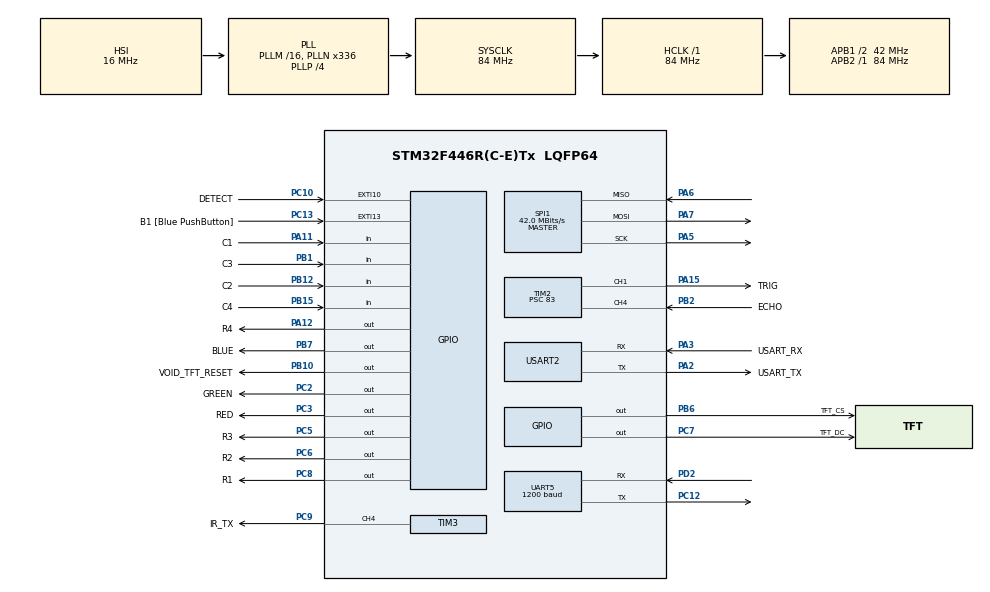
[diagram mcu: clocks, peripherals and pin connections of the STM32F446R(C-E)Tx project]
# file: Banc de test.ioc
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Dma.Request0=UART5_TX
Dma.Request1=SPI1_TX
Dma.SPI1_TX.1.Direction=DMA_MEMORY_TO_PERIPH
Dma.SPI1_TX.1.FIFOMode=DMA_FIFOMODE_DISABLE
Dma.SPI1_TX.1.Instance=DMA2_Stream3
Dma.SPI1_TX.1.MemDataAlignment=DMA_MDATAALIGN_BYTE
Dma.SPI1_TX.1.MemInc=DMA_MINC_ENABLE
Dma.SPI1_TX.1.Mode=DMA_NORMAL
Dma.SPI1_TX.1.PeriphDataAlignment=DMA_PDATAALIGN_BYTE
Dma.SPI1_TX.1.PeriphInc=DMA_PINC_DISABLE
Dma.SPI1_TX.1.Priority=DMA_PRIORITY_LOW
Dma.UART5_TX.0.Direction=DMA_MEMORY_TO_PERIPH
Dma.UART5_TX.0.FIFOMode=DMA_FIFOMODE_DISABLE
Dma.UART5_TX.0.Instance=DMA1_Stream7
Dma.UART5_TX.0.MemDataAlignment=DMA_MDATAALIGN_BYTE
Dma.UART5_TX.0.MemInc=DMA_MINC_ENABLE
Dma.UART5_TX.0.Mode=DMA_CIRCULAR
Dma.UART5_TX.0.PeriphDataAlignment=DMA_PDATAALIGN_BYTE
Dma.UART5_TX.0.PeriphInc=DMA_PINC_DISABLE
Dma.UART5_TX.0.Priority=DMA_PRIORITY_LOW
Mcu.Family=STM32F4
Mcu.Name=STM32F446R(C-E)Tx
Mcu.Package=LQFP64
NVIC.DMA1_Stream7_IRQn=true\:0\:0\:false\:false\:true\:false\:true\:true
NVIC.DMA2_Stream3_IRQn=true\:0\:0\:false\:false\:true\:false\:true\:true
NVIC.EXTI15_10_IRQn=true\:0\:0\:false\:false\:true\:true\:true\:true
NVIC.PriorityGroup=NVIC_PRIORITYGROUP_0
NVIC.SPI1_IRQn=true\:0\:0\:false\:false\:true\:true\:true\:true
NVIC.TIM2_IRQn=true\:0\:0\:false\:false\:true\:true\:true\:true
NVIC.UART5_IRQn=true\:0\:0\:false\:false\:true\:true\:true\:true
PA11.GPIO_Label=C1
PA11.GPIO_PuPd=GPIO_PULLUP
PA11.Signal=GPIO_Input
PA12.GPIO_Label=R4
PA12.Signal=GPIO_Output
PA13.GPIO_Label=TMS
PA13.Mode=Serial_Wire
PA13.Signal=SYS_JTMS-SWDIO
PA14.GPIO_Label=TCK
PA14.Mode=Serial_Wire
PA14.Signal=SYS_JTCK-SWCLK
PA15.GPIO_Label=TRIG
PA15.Signal=S_TIM2_CH1_ETR
PA2.GPIO_Label=USART_TX
PA2.Mode=Asynchronous
PA2.Signal=USART2_TX
PA3.GPIO_Label=USART_RX
PA3.Mode=Asynchronous
PA3.Signal=USART2_RX
PA5.Mode=Full_Duplex_Master
PA5.Signal=SPI1_SCK
PA6.Mode=Full_Duplex_Master
PA6.Signal=SPI1_MISO
PA7.Mode=Full_Duplex_Master
PA7.Signal=SPI1_MOSI
PB1.GPIO_Label=C3
PB1.GPIO_PuPd=GPIO_PULLUP
PB1.Signal=GPIO_Input
PB10.GPIO_Label=VOID_TFT_RESET
PB10.Signal=GPIO_Output
PB12.GPIO_Label=C2
PB12.GPIO_PuPd=GPIO_PULLUP
PB12.Signal=GPIO_Input
PB15.GPIO_Label=C4
PB15.GPIO_PuPd=GPIO_PULLUP
PB15.Signal=GPIO_Input
PB2.GPIO_Label=ECHO
PB2.Signal=S_TIM2_CH4
PB3.GPIO_Label=SWO
PB3.Signal=SYS_JTDO-SWO
PB6.GPIO_Label=TFT_CS
PB6.Signal=GPIO_Output
PB7.GPIO_Label=BLUE
PB7.Signal=GPIO_Output
PC10.GPIO_Label=DETECT
PC10.GPIO_ModeDefaultEXTI=GPIO_MODE_IT_RISING_FALLING
PC10.Signal=GPXTI10
PC12.Mode=Asynchronous
PC12.Signal=UART5_TX
PC13.GPIO_Label=B1 [Blue PushButton]
PC13.GPIO_ModeDefaultEXTI=GPIO_MODE_IT_FALLING
PC13.Signal=GPXTI13
PC14-OSC32_IN.Mode=LSE-External-Oscillator
PC14-OSC32_IN.Signal=RCC_OSC32_IN
PC15-OSC32_OUT.Mode=LSE-External-Oscillator
PC15-OSC32_OUT.Signal=RCC_OSC32_OUT
PC2.GPIO_Label=GREEN
PC2.Signal=GPIO_Output
PC3.GPIO_Label=RED
PC3.Signal=GPIO_Output
PC5.GPIO_Label=R3
PC5.Signal=GPIO_Output
PC6.GPIO_Label=R2
PC6.Signal=GPIO_Output
PC7.GPIO_Label=TFT_DC
PC7.Signal=GPIO_Output
PC8.GPIO_Label=R1
PC8.Signal=GPIO_Output
PC9.GPIO_Label=IR_TX
PC9.Signal=S_TIM3_CH4
PD2.Mode=Asynchronous
PD2.Signal=UART5_RX
PH0-OSC_IN.Mode=HSE-External-Oscillator
PH0-OSC_IN.Signal=RCC_OSC_IN
PH1-OSC_OUT.Mode=HSE-External-Oscillator
PH1-OSC_OUT.Signal=RCC_OSC_OUT
ProjectManager.HeapSize=0x200
ProjectManager.StackSize=0x400
ProjectManager.TargetToolchain=MDK-ARM V5.32
RCC.48MHZClocksFreq_Value=84000000
RCC.AHBFreq_Value=84000000
RCC.APB1CLKDivider=RCC_HCLK_DIV2
RCC.APB1Freq_Value=42000000
RCC.APB1TimFreq_Value=84000000
RCC.APB2Freq_Value=84000000
RCC.APB2TimFreq_Value=84000000
RCC.CortexFreq_Value=84000000
RCC.FLatency-AdvancedSettings=FLASH_LATENCY_2
RCC.HCLKFreq_Value=84000000
RCC.HSE_VALUE=8000000
RCC.HSI_VALUE=16000000
RCC.PLLN=336
RCC.PLLP=RCC_PLLP_DIV4
RCC.SYSCLKFreq_VALUE=84000000
RCC.SYSCLKSource=RCC_SYSCLKSOURCE_PLLCLK
RCC.USBFreq_Value=168000000
RCC.VCOOutputFreq_Value=336000000
SH.S_TIM2_CH1_ETR.0=TIM2_CH1,PWM Generation1 CH1
SH.S_TIM2_CH4.0=TIM2_CH4,Input_Capture4_from_TI4
SH.S_TIM3_CH4.0=TIM3_CH4,PWM Generation4 CH4
SPI1.CalculateBaudRate=42.0 MBits/s
SPI1.Direction=SPI_DIRECTION_2LINES
SPI1.Mode=SPI_MODE_MASTER
SPI1.VirtualType=VM_MASTER
TIM2.Channel-Input_Capture4_from_TI4=TIM_CHANNEL_4
TIM2.Channel-PWM\ Generation1\ CH1=TIM_CHANNEL_1
TIM2.ICPolarity_CH4=TIM_INPUTCHANNELPOLARITY_BOTHEDGE
TIM2.Period=199999
TIM2.Prescaler=83
TIM2.Pulse-PWM\ Generation1\ CH1=10
TIM3.Channel-PWM\ Generation4\ CH4=TIM_CHANNEL_4
TIM3.Period=25
TIM3.Prescaler=83
TIM3.Pulse-PWM\ Generation4\ CH4=13
UART5.BaudRate=1200
UART5.VirtualMode=Asynchronous
USART2.VirtualMode=VM_ASYNC
VP_TIM2_VS_ClockSourceINT.Mode=Internal
VP_TIM3_VS_ClockSourceINT.Mode=Internal
board=NUCLEO-F446RE

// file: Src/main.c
/* USER CODE BEGIN Header */
/**
  ******************************************************************************
  * @file           : main.c
  * @brief          : Main program body
  ******************************************************************************
  * @attention
  *
  * Copyright (c) 2022 STMicroelectronics.
  * All rights reserved.
  *
  * This software is licensed under terms that can be found in the LICENSE file
  * in the root directory of this software component.
  * If no LICENSE file comes with this software, it is provided AS-IS.
  *
  ******************************************************************************
  */
/* USER CODE END Header */
#include "main.h"
#include "dma.h"
#include "spi.h"
#include "tim.h"
#include "usart.h"
#include "gpio.h"

/* USER CODE BEGIN Includes */
#include "stdio.h"
#include "stdlib.h"
#include "ili9341.h"
#include "ili9341_gfx.h"
/* USER CODE END Includes */

/* USER CODE BEGIN PD */
	#define LED_RED 		0
	#define LED_GREEN 	1
	#define LED_BLUE 		2

/* USER CODE END PD */

/* USER CODE BEGIN PV */
	ili9341_t *_screen;
	ili9341_text_attr_t my_attr;
	int x;

	// Systick
	volatile int flag_systick = 0;

	//LED
	volatile int led_color = LED_RED;

	// Ultrason
	volatile float distance_US = 0.0;

	// Key
	int key = 0;

	// UART
	unsigned Tx_data_word = 0xFE0000FF;
	uint8_t *Tx_data = (uint8_t *) &Tx_data_word;
	uint8_t Rx_data[4] = {0};
	uint8_t Rx_buff[1] = {0};
	uint8_t Rx_temp[2] = {0};
	int tx_timer = 0;

/* USER CODE END PV */

void SystemClock_Config(void);
/* USER CODE BEGIN PFP */
unsigned Update_Mes(unsigned * x);
/* USER CODE END PFP */

/* USER CODE BEGIN 0 */
#ifndef __GNUC__
#define PUTCHAR_PROTOTYPE int __io_putchar(int ch)
#else
#define PUTCHAR_PROTOTYPE int fputc(int ch, FILE *f)
#endif /* __GNUC__ */

void HAL_SYSTICK_Callback(void) {
	static int timer = 0;
	static int led_timer = 0;

	timer++;
	led_timer++;
	tx_timer++;

	// Sets flag when time elapsed
	if (timer == 500){
		flag_systick = 1;
		timer = 0;
	}

	// Change LED color when time elapsed
	if (led_timer > 2000){
		led_color = (led_color+1)%3;
		led_timer = 0;
	}

	// Update the message sent when time elapsed
	if (tx_timer == 1234){
		Update_Mes(&Tx_data_word);
		tx_timer = 0;
	}
}

void HAL_TIM_IC_CaptureCallback(TIM_HandleTypeDef *htim)
{
	static int risingIC = 0;
	static int edge1Time = 0;
	static int edge2Time = 0;

	//First edge (Rising edge)
	if(risingIC == 0)
	{
		edge1Time = HAL_TIM_ReadCapturedValue(htim, TIM_CHANNEL_4);
		risingIC = 1;
	}

	//Second edge (Falling edge)
	else
	{
		edge2Time = HAL_TIM_ReadCapturedValue(htim, TIM_CHANNEL_4);
		risingIC = 0;

		distance_US=abs(edge2Time-edge1Time)/58.82;
	}
}

void HAL_UART_RxCpltCallback(UART_HandleTypeDef *huart)
{
	static int uart_state = 1;
	static int uart_cnt = 0;
	char c = *Rx_buff;

	HAL_UART_Receive_IT (&huart5, (uint8_t *) Rx_buff, sizeof(Rx_buff)); // Prepare la reception pour un prochain byte de data (mode normal)

	// Machine à état
	if (c==255) {
		uart_state = 1;
		uart_cnt = 0;
	} else {
		switch (uart_state){
			case 1:
				Rx_temp[uart_cnt] = c;
				uart_cnt++;
				if (uart_cnt == 2){
					uart_state = 2;
				}
				break;

			case 2:
				if (c == 254){
					Rx_data[1] = Rx_temp[0];
					Rx_data[2] = Rx_temp[1];
				}
				uart_state = 3;
				break;

			case 3:
				uart_state = 3;
				break;

		}
	}
}

void HAL_GPIO_EXTI_Callback(uint16_t GPIO_Pin)
{
	if(GPIO_Pin == DETECT_Pin)
	{
		if(HAL_GPIO_ReadPin(DETECT_GPIO_Port,DETECT_Pin)==GPIO_PIN_SET)
		{
			HAL_TIM_PWM_Stop(&htim3, TIM_CHANNEL_4);
		}
		else
		{
			HAL_TIM_PWM_Start(&htim3, TIM_CHANNEL_4);
		}
	}
}

// Set a row for the Key
void selectRow (int r) {
	if (r==1) HAL_GPIO_WritePin(R1_GPIO_Port, R1_Pin, GPIO_PIN_RESET);
	else HAL_GPIO_WritePin(R1_GPIO_Port, R1_Pin, GPIO_PIN_SET);
	if (r==2) HAL_GPIO_WritePin(R2_GPIO_Port, R2_Pin, GPIO_PIN_RESET);
	else HAL_GPIO_WritePin(R2_GPIO_Port, R2_Pin, GPIO_PIN_SET);
	if (r==3) HAL_GPIO_WritePin(R3_GPIO_Port, R3_Pin, GPIO_PIN_RESET);
	else HAL_GPIO_WritePin(R3_GPIO_Port, R3_Pin, GPIO_PIN_SET);
	if (r==4) HAL_GPIO_WritePin(R4_GPIO_Port, R4_Pin, GPIO_PIN_RESET);
	else HAL_GPIO_WritePin(R4_GPIO_Port, R4_Pin, GPIO_PIN_SET);
}

// Read the column of the Key
int readCol() {
	int result = 0;
	if (HAL_GPIO_ReadPin(C1_GPIO_Port, C1_Pin) == GPIO_PIN_RESET) result += 1;
	if (HAL_GPIO_ReadPin(C2_GPIO_Port, C2_Pin) == GPIO_PIN_RESET) result += 2;
	if (HAL_GPIO_ReadPin(C3_GPIO_Port, C3_Pin) == GPIO_PIN_RESET) result += 4;
	if (HAL_GPIO_ReadPin(C4_GPIO_Port, C4_Pin) == GPIO_PIN_RESET) result += 8;
	return result;
}

// Look if a key is pressed
int keyPressed() {
	int rowPos=1; // Current row position
	int rowValue; // Value read from the current row
	for (rowPos=1; rowPos <= 4; rowPos++) {
		selectRow(rowPos); HAL_Delay(10);
		rowValue=readCol();
		if (rowValue != 0) { // a key is pressed
			int result = 4*(rowPos-1);
			while (!(rowValue & 1)) { // test if bit #0 is false
				result++;
				rowValue>>=1;
			}
			while (readCol() != 0); // key no more pressed
			return result+1;
		}
	}
	return -1;
}

/* USER CODE END 0 */

int main(void)
{

  /* MCU Configuration--------------------------------------------------------*/

  /* Reset of all peripherals, Initializes the Flash interface and the Systick. */
  HAL_Init();

  /* Configure the system clock */
  SystemClock_Config();

  /* Initialize all configured peripherals */
  MX_GPIO_Init();
  MX_DMA_Init();
  MX_USART2_UART_Init();
  MX_UART5_Init();
  MX_TIM2_Init();
  MX_TIM3_Init();
  MX_SPI1_Init();
  /* USER CODE BEGIN 2 */

	// Ultrason
	HAL_TIM_PWM_Start(&htim2, TIM_CHANNEL_1);
	HAL_TIM_IC_Start_IT(&htim2, TIM_CHANNEL_4);

	// UART
	HAL_UART_Transmit_DMA (&huart5, (uint8_t *) Tx_data, sizeof(Tx_data));
	HAL_UART_Receive_IT (&huart5, (uint8_t *) Rx_buff, sizeof(Rx_buff));

	// LCD
  _screen = ili9341_new(
      &hspi1,
      VOID_TFT_RESET_GPIO_Port, VOID_TFT_RESET_Pin,
      TFT_CS_GPIO_Port,    TFT_CS_Pin,
      TFT_DC_GPIO_Port,    TFT_DC_Pin,
      isoLandscape,
      NULL,  NULL,
      NULL, NULL,
      itsNotSupported,
      itnNormalized);

	ili9341_fill_screen(_screen, ILI9341_BLACK);
	my_attr.font = &ili9341_font_16x26;
	my_attr.bg_color = ILI9341_BLACK;
	my_attr.fg_color = ILI9341_WHITE;
	my_attr.origin_x = 0;
	my_attr.origin_y = 0;

	char bufferTxt[10] = {0};
	sprintf(bufferTxt, "TESTBENCH");

	my_attr.origin_x = 30;
	my_attr.origin_y = 15;
	ili9341_draw_string(_screen, my_attr, bufferTxt);

  /* USER CODE END 2 */

  /* Infinite loop */
  while (1)
  {

    /* USER CODE BEGIN 3 */
		while(!flag_systick);
		flag_systick = 0;

		printf(".");

		// Key
		int keyTemp;
		if ((keyTemp = keyPressed()) != -1){
			key = keyTemp;
		}
		char bufferKey[10] = {0};
		sprintf(bufferKey, "Key : %i ", key);
		my_attr.origin_x = 30;
		my_attr.origin_y = 60;
		ili9341_draw_string(_screen, my_attr, bufferKey);

		// LED
		char bufferLED[15] = {0};
		switch (led_color){
			case LED_RED:
				sprintf(bufferLED, "LED : RED on  ");
				HAL_GPIO_WritePin(RED_GPIO_Port, RED_Pin, GPIO_PIN_RESET);
				HAL_GPIO_WritePin(GREEN_GPIO_Port, GREEN_Pin, GPIO_PIN_SET);
				HAL_GPIO_WritePin(BLUE_GPIO_Port, BLUE_Pin, GPIO_PIN_SET);
				break;
			case LED_GREEN:
				sprintf(bufferLED, "LED : GREEN on");
				HAL_GPIO_WritePin(RED_GPIO_Port, RED_Pin, GPIO_PIN_SET);
				HAL_GPIO_WritePin(GREEN_GPIO_Port, GREEN_Pin, GPIO_PIN_RESET);
				HAL_GPIO_WritePin(BLUE_GPIO_Port, BLUE_Pin, GPIO_PIN_SET);
				break;
			case LED_BLUE:
				sprintf(bufferLED, "LED : BLUE on ");
				HAL_GPIO_WritePin(RED_GPIO_Port, RED_Pin, GPIO_PIN_SET);
				HAL_GPIO_WritePin(GREEN_GPIO_Port, GREEN_Pin, GPIO_PIN_SET);
				HAL_GPIO_WritePin(BLUE_GPIO_Port, BLUE_Pin, GPIO_PIN_RESET);
				break;
		}
		my_attr.origin_x = 30;
		my_attr.origin_y = 90;
		ili9341_draw_string(_screen, my_attr, bufferLED);

		// US
		char bufferUS[15] = {0};
		sprintf(bufferUS, "US : %i cm     ", (int) distance_US);

		my_attr.origin_x = 30;
		my_attr.origin_y = 120;
		ili9341_draw_string(_screen, my_attr, bufferUS);

		// IR
		char bufferTX[20] = {0};
		char bufferRX[20] = {0};
		sprintf(bufferTX, "TX : %i %i       ",Tx_data[1],Tx_data[2]);
		sprintf(bufferRX, "RX : %i %i       ",Rx_data[1],Rx_data[2]);

		my_attr.origin_x = 30;
		my_attr.origin_y = 150;
		ili9341_draw_string(_screen, my_attr, bufferTX);

		my_attr.origin_x = 30;
		my_attr.origin_y = 180;
		ili9341_draw_string(_screen, my_attr, bufferRX);
  }
  /* USER CODE END 3 */
}

void SystemClock_Config(void)
{
  RCC_OscInitTypeDef RCC_OscInitStruct = {0};
  RCC_ClkInitTypeDef RCC_ClkInitStruct = {0};

  /** Configure the main internal regulator output voltage
  */
  __HAL_RCC_PWR_CLK_ENABLE();
  __HAL_PWR_VOLTAGESCALING_CONFIG(PWR_REGULATOR_VOLTAGE_SCALE3);

  /** Initializes the RCC Oscillators according to the specified parameters
  * in the RCC_OscInitTypeDef structure.
  */
  RCC_OscInitStruct.OscillatorType = RCC_OSCILLATORTYPE_HSI;
  RCC_OscInitStruct.HSIState = RCC_HSI_ON;
  RCC_OscInitStruct.HSICalibrationValue = RCC_HSICALIBRATION_DEFAULT;
  RCC_OscInitStruct.PLL.PLLState = RCC_PLL_ON;
  RCC_OscInitStruct.PLL.PLLSource = RCC_PLLSOURCE_HSI;
  RCC_OscInitStruct.PLL.PLLM = 16;
  RCC_OscInitStruct.PLL.PLLN = 336;
  RCC_OscInitStruct.PLL.PLLP = RCC_PLLP_DIV4;
  RCC_OscInitStruct.PLL.PLLQ = 2;
  RCC_OscInitStruct.PLL.PLLR = 2;
  if (HAL_RCC_OscConfig(&RCC_OscInitStruct) != HAL_OK)
  {
    Error_Handler();
  }

  /** Initializes the CPU, AHB and APB buses clocks
  */
  RCC_ClkInitStruct.ClockType = RCC_CLOCKTYPE_HCLK|RCC_CLOCKTYPE_SYSCLK
                              |RCC_CLOCKTYPE_PCLK1|RCC_CLOCKTYPE_PCLK2;
  RCC_ClkInitStruct.SYSCLKSource = RCC_SYSCLKSOURCE_PLLCLK;
  RCC_ClkInitStruct.AHBCLKDivider = RCC_SYSCLK_DIV1;
  RCC_ClkInitStruct.APB1CLKDivider = RCC_HCLK_DIV2;
  RCC_ClkInitStruct.APB2CLKDivider = RCC_HCLK_DIV1;

  if (HAL_RCC_ClockConfig(&RCC_ClkInitStruct, FLASH_LATENCY_2) != HAL_OK)
  {
    Error_Handler();
  }
}

/* USER CODE BEGIN 4 */
/**
* @brief Retargets the C library printf function to the USART.
* @param None
* @retval None
*/
PUTCHAR_PROTOTYPE
{
/* Place your implementation of fputc here */
/* e.g. write a character to the USART2 and Loop until the end
of transmission */
HAL_UART_Transmit(&huart2, (uint8_t *)&ch, 1, 0xFFFF);
return ch;
}

/* USER CODE END 4 */

void Error_Handler(void)
{
  __disable_irq();
  while (1)
  {
  }
}
